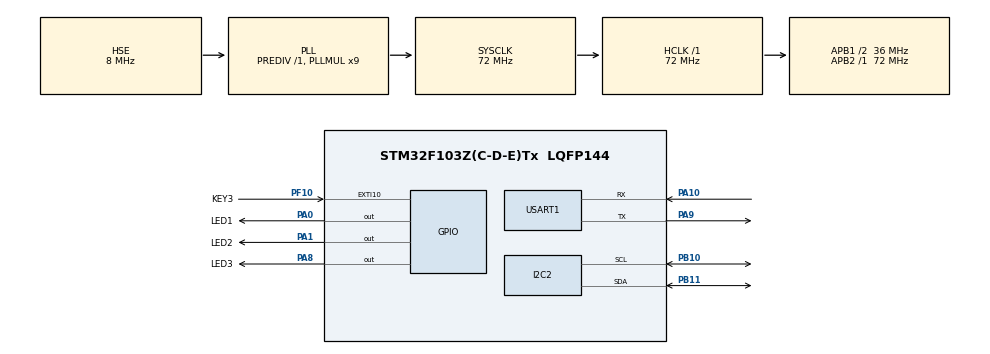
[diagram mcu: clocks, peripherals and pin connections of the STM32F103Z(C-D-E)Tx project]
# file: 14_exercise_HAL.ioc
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Mcu.Family=STM32F1
Mcu.Name=STM32F103Z(C-D-E)Tx
Mcu.Package=LQFP144
NVIC.EXTI15_10_IRQn=true\:3\:0\:true\:false\:true\:true\:true\:true
NVIC.PriorityGroup=NVIC_PRIORITYGROUP_4
NVIC.USART1_IRQn=true\:3\:0\:true\:false\:true\:true\:true\:true
OSC_IN.Mode=HSE-External-Oscillator
OSC_IN.Signal=RCC_OSC_IN
OSC_OUT.Mode=HSE-External-Oscillator
OSC_OUT.Signal=RCC_OSC_OUT
PA0-WKUP.GPIO_Label=LED1
PA0-WKUP.GPIO_Speed=GPIO_SPEED_FREQ_HIGH
PA0-WKUP.PinState=GPIO_PIN_SET
PA0-WKUP.Signal=GPIO_Output
PA1.GPIO_Label=LED2
PA1.GPIO_Speed=GPIO_SPEED_FREQ_HIGH
PA1.PinState=GPIO_PIN_SET
PA1.Signal=GPIO_Output
PA10.Mode=Asynchronous
PA10.Signal=USART1_RX
PA13.Mode=Serial_Wire
PA13.Signal=SYS_JTMS-SWDIO
PA14.Mode=Serial_Wire
PA14.Signal=SYS_JTCK-SWCLK
PA8.GPIO_Label=LED3
PA8.GPIO_Speed=GPIO_SPEED_FREQ_HIGH
PA8.PinState=GPIO_PIN_SET
PA8.Signal=GPIO_Output
PA9.Mode=Asynchronous
PA9.Signal=USART1_TX
PB10.Mode=I2C
PB10.Signal=I2C2_SCL
PB11.Mode=I2C
PB11.Signal=I2C2_SDA
PC14-OSC32_IN.Mode=LSE-External-Oscillator
PC14-OSC32_IN.Signal=RCC_OSC32_IN
PC15-OSC32_OUT.Mode=LSE-External-Oscillator
PC15-OSC32_OUT.Signal=RCC_OSC32_OUT
PF10.GPIO_Label=KEY3
PF10.GPIO_PuPd=GPIO_PULLDOWN
PF10.Signal=GPXTI10
ProjectManager.HeapSize=0x200
ProjectManager.StackSize=0x400
ProjectManager.TargetToolchain=MDK-ARM V5.32
RCC.AHBFreq_Value=72000000
RCC.APB1CLKDivider=RCC_HCLK_DIV2
RCC.APB1Freq_Value=36000000
RCC.APB1TimFreq_Value=72000000
RCC.APB2Freq_Value=72000000
RCC.APB2TimFreq_Value=72000000
RCC.HCLKFreq_Value=72000000
RCC.PLLMUL=RCC_PLL_MUL9
RCC.PLLSourceVirtual=RCC_PLLSOURCE_HSE
RCC.SYSCLKFreq_VALUE=72000000
RCC.SYSCLKSource=RCC_SYSCLKSOURCE_PLLCLK
RCC.USBFreq_Value=72000000
USART1.VirtualMode=VM_ASYNC
board=custom

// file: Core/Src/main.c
/* USER CODE BEGIN Header */
/**
  ******************************************************************************
  * @file           : main.c
  * @brief          : Main program body
  ******************************************************************************
  * @attention
  *
  * Copyright (c) 2024 STMicroelectronics.
  * All rights reserved.
  *
  * This software is licensed under terms that can be found in the LICENSE file
  * in the root directory of this software component.
  * If no LICENSE file comes with this software, it is provided AS-IS.
  *
  ******************************************************************************
  */
  /* USER CODE END Header */
  /* Includes ------------------------------------------------------------------*/
#include "main.h"
#include "i2c.h"
#include "usart.h"
#include "gpio.h"
#include <stdio.h>

void SystemClock_Config(void);

/* USER CODE BEGIN 0 */
// 1.定义全局变量
uint8_t buffer[20] = { 0 };
uint8_t size = 0;
uint8_t Plan_BRF = 0;

// 2.循环的方案(-1,0,1,2)
Plan_Statue plan_statue = No_Plan;

// 3.用一个二维数组保存流水灯方案
uint8_t LED_plans[3][2] = { 0 };

// 4.定义所有的LED灯的数据
uint16_t leds[3] = { LED1_Pin,LED2_Pin,LED3_Pin };

// 5. 声明字符串处理函数
void LED_LoadPlan(void);

/* USER CODE END 0 */

int main(void)
{

    /* MCU Configuration--------------------------------------------------------*/

    /* Reset of all peripherals, Initializes the Flash interface and the Systick. */
    HAL_Init();

    /* Configure the system clock */
    SystemClock_Config();

    /* Initialize all configured peripherals */
    MX_GPIO_Init();
    MX_I2C2_Init();
    MX_USART1_UART_Init();
    /* USER CODE BEGIN 2 */

    // 开始信号
    printf("LED_Plan ---> Start\n");
    // 判断EEPROM里面是否有数据，有则通过IIC加载LED_LoadPlan
    if ((HAL_I2C_Mem_Read(&hi2c2, 0xA1, 0, I2C_MEMADD_SIZE_8BIT, buffer, 11, HAL_MAX_DELAY)) == HAL_OK)
    {
        if (buffer[0] != 0)
        {
            printf("IIC-----------> buffer = %s\n", buffer);
            LED_LoadPlan();
        }
    }
    // 接收一次UART信息，接收完会关闭中断，触发中断会将BRF置为1
    HAL_UARTEx_ReceiveToIdle_IT(&huart1, buffer, 11);

    /* USER CODE END 2 */

    /* Infinite loop */
    while (1)
    {
        if (Plan_BRF)
        {
            Plan_BRF = 0;
            // 再次开启USART中断等待下一次接收
            HAL_UARTEx_ReceiveToIdle_IT(&huart1, buffer, 11);
            printf("USART----------> buffer = %s\n", buffer);
            // 通过USART加载LED_LoadPlan，并将串口收到的数据通过IIC存入EEPROM
            LED_LoadPlan();
            HAL_I2C_Mem_Write(&hi2c2, 0xA0, 0, I2C_MEMADD_SIZE_8BIT, buffer, 11, HAL_MAX_DELAY);
        }

        if (plan_statue != No_Plan)
        {
            // 1.关闭所有灯
            for (uint8_t i = 0; i < 3; i++)
            {
                HAL_GPIO_WritePin(GPIOA, leds[i], GPIO_PIN_SET);
            }

            // 2.通过状态开启对应灯
            for (uint8_t i = 0; i < 2; i++)
            {
                HAL_GPIO_WritePin(GPIOA, leds[LED_plans[plan_statue][i] - 1], GPIO_PIN_RESET);
                printf("LED%d_On\n", LED_plans[plan_statue][i]);
                HAL_Delay(1500);
                HAL_GPIO_WritePin(GPIOA, leds[LED_plans[plan_statue][i] - 1], GPIO_PIN_SET);
            }
        }
    }
}

void SystemClock_Config(void)
{
    RCC_OscInitTypeDef RCC_OscInitStruct = { 0 };
    RCC_ClkInitTypeDef RCC_ClkInitStruct = { 0 };

    /** Initializes the RCC Oscillators according to the specified parameters
    * in the RCC_OscInitTypeDef structure.
    */
    RCC_OscInitStruct.OscillatorType = RCC_OSCILLATORTYPE_HSE;
    RCC_OscInitStruct.HSEState = RCC_HSE_ON;
    RCC_OscInitStruct.HSEPredivValue = RCC_HSE_PREDIV_DIV1;
    RCC_OscInitStruct.HSIState = RCC_HSI_ON;
    RCC_OscInitStruct.PLL.PLLState = RCC_PLL_ON;
    RCC_OscInitStruct.PLL.PLLSource = RCC_PLLSOURCE_HSE;
    RCC_OscInitStruct.PLL.PLLMUL = RCC_PLL_MUL9;
    if (HAL_RCC_OscConfig(&RCC_OscInitStruct) != HAL_OK)
    {
        Error_Handler();
    }

    /** Initializes the CPU, AHB and APB buses clocks
    */
    RCC_ClkInitStruct.ClockType = RCC_CLOCKTYPE_HCLK | RCC_CLOCKTYPE_SYSCLK
        | RCC_CLOCKTYPE_PCLK1 | RCC_CLOCKTYPE_PCLK2;
    RCC_ClkInitStruct.SYSCLKSource = RCC_SYSCLKSOURCE_PLLCLK;
    RCC_ClkInitStruct.AHBCLKDivider = RCC_SYSCLK_DIV1;
    RCC_ClkInitStruct.APB1CLKDivider = RCC_HCLK_DIV2;
    RCC_ClkInitStruct.APB2CLKDivider = RCC_HCLK_DIV1;

    if (HAL_RCC_ClockConfig(&RCC_ClkInitStruct, FLASH_LATENCY_2) != HAL_OK)
    {
        Error_Handler();
    }
}

/* USER CODE BEGIN 4 */
/**
 * 解析LED灯的配置计划
 *
 * 本函数从一个预设的buffer中解析出LED灯的三个计划配置每种计划配置由两个字节组成
 * 解析成功后，将更新plan_statue以指示当前的计划状态
 *
 * 注意：此处使用sscanf进行字节解析，可能存在安全性风险应确保buffer中的数据来源可靠
 */
void LED_LoadPlan(void) {
    // 从buffer中解析LED灯的三个计划配置，每个计划配置包含两个字节的数据
    sscanf((char*)buffer, "%hhu,%hhu#%hhu,%hhu#%hhu,%hhu",
        &LED_plans[0][0], &LED_plans[0][1],
        &LED_plans[1][0], &LED_plans[1][1],
        &LED_plans[2][0], &LED_plans[2][1]);

    // 打印buffer的内容，用于调试目的
    printf("LED_LoadPlan() ---> buffer = %s\n", buffer);

    // 更新plan_statue以指向第一个计划
    plan_statue = Plan_1;
}

/* USER CODE END 4 */

void Error_Handler(void)
{
    __disable_irq();
    while (1)
    {
    }
}
